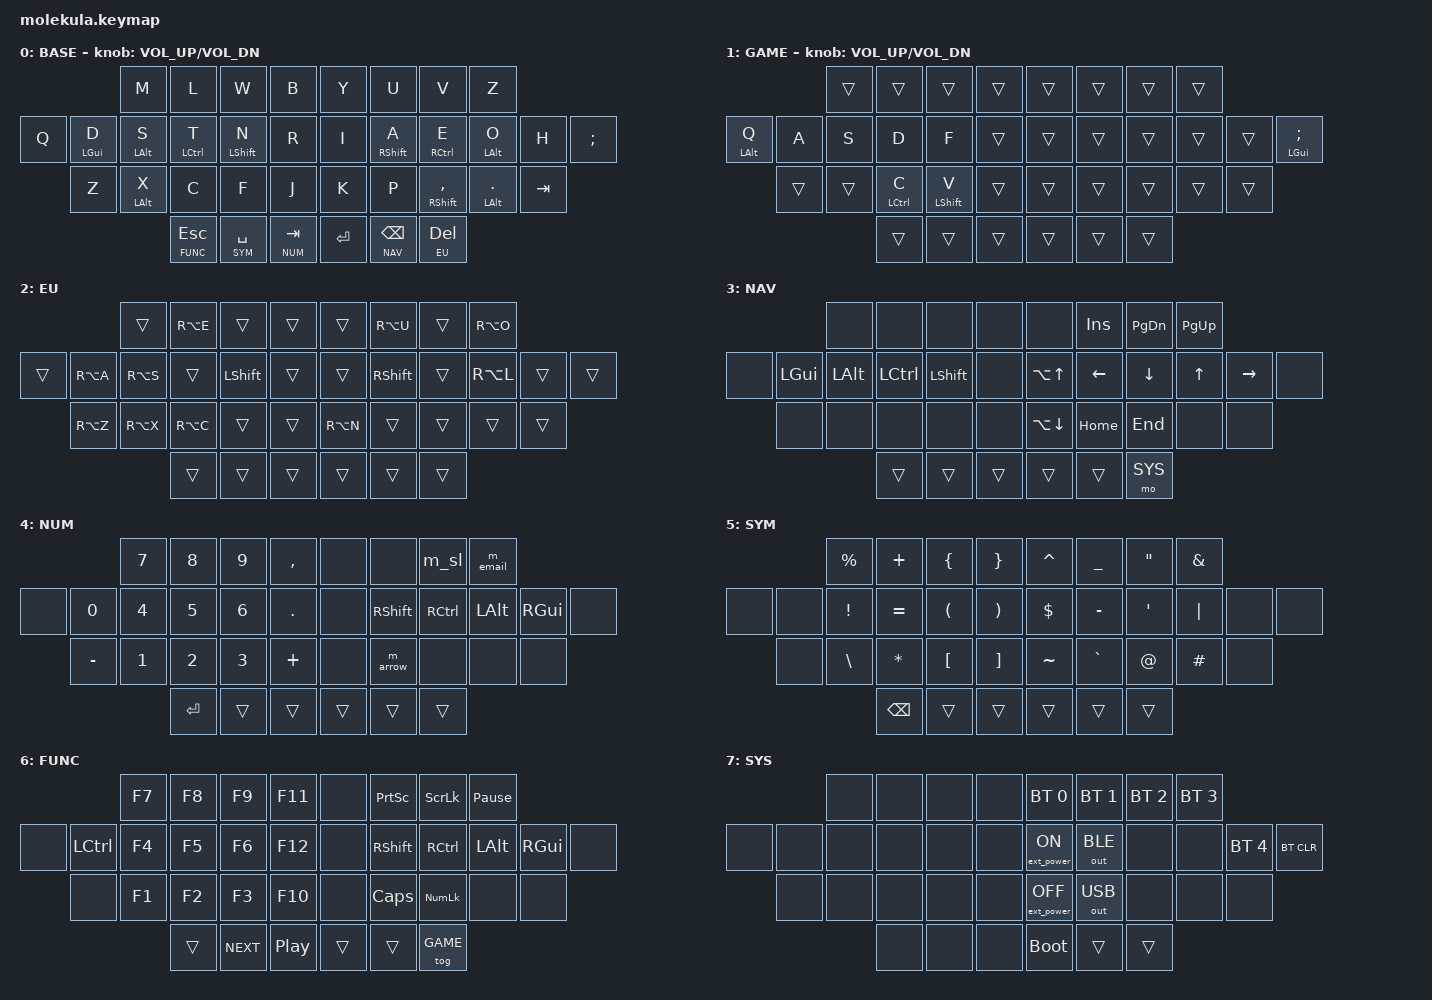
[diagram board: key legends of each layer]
/*
 * Copyright (c) 2020 The ZMK Contributors
 *
 * SPDX-License-Identifier: MIT
 */

#include <behaviors.dtsi>
#include <dt-bindings/zmk/keys.h>
#include <dt-bindings/zmk/bt.h>
#include <dt-bindings/zmk/outputs.h>
#include <dt-bindings/zmk/ext_power.h>

#include "36keys.h"

#define BASE 0
#define GAME 1
#define EU 2
#define NAV 3
#define NUM 4
#define SYM 5
#define FUNC 6
#define SYS 7

#define KEYS_L LT0 LT1 LT2 LT3 LM0 LM1 LM2 LM3 LM4 LM5 LB0 LB1 LB2 LB3 LB4  // left hand
#define KEYS_R RT0 RT1 RT2 RT3 RM0 RM1 RM2 RM3 RM4 RM5 RB0 RB1 RB2 RB3 RB4  // right hand
#define THUMBS LH2 LH1 LH0 RH0 RH1 RH2                                      // thumbs

&lt {  // layer-tap config
    tapping-term-ms = <150>;
};

/ {
    behaviors {
        hrs: homerow_shift {
            compatible = "zmk,behavior-hold-tap";
            #binding-cells = <2>;
            tapping-term-ms = <140>;
            flavor = "tap-preferred";
            bindings = <&kp>, <&kp>;
        };
        hrcl: homerow_ctrl_left {
            compatible = "zmk,behavior-hold-tap";
            #binding-cells = <2>;
            tapping-term-ms = <180>;
            flavor = "balanced";
            bindings = <&kp>, <&kp>;
            hold-trigger-key-positions = <KEYS_R THUMBS>;
            hold-trigger-on-release;
        };
        hrcr: homerow_ctrl_right {
            compatible = "zmk,behavior-hold-tap";
            #binding-cells = <2>;
            tapping-term-ms = <180>;
            quick-tap-ms = <0>;
            require-prior-idle-ms = <0>;
            flavor = "balanced";
            bindings = <&kp>, <&kp>;
            hold-trigger-key-positions = <KEYS_L THUMBS>;
            hold-trigger-on-release;
        };
        hrml: homerow_mods_left {
            compatible = "zmk,behavior-hold-tap";
            #binding-cells = <2>;
            tapping-term-ms = <280>;
            quick-tap-ms = <175>;
            require-prior-idle-ms = <150>;
            flavor = "balanced";
            bindings = <&kp>, <&kp>;
            hold-trigger-key-positions = <KEYS_R THUMBS>;
            hold-trigger-on-release;
        };
        hrmr: homerow_mods_right {
            compatible = "zmk,behavior-hold-tap";
            #binding-cells = <2>;
            tapping-term-ms = <280>;
            quick-tap-ms = <175>;
            require-prior-idle-ms = <150>;
            flavor = "balanced";
            bindings = <&kp>, <&kp>;
            hold-trigger-key-positions = <KEYS_L THUMBS>;
            hold-trigger-on-release;
        };
    };

    macros {
        m_arrow: m_arrow {
            compatible = "zmk,behavior-macro";
            #binding-cells = <0>;
            bindings = <&kp EQUAL &kp GT>;
        };

        m_sl: m_select_line {
            compatible = "zmk,behavior-macro";
            #binding-cells = <0>;
            bindings
                = <&macro_tap &kp HOME> 
                , <&macro_press &kp LSHFT>
                , <&macro_tap &kp END>
                , <&macro_release &kp LSHFT>
                ;
        };

        m_email: m_email {
            compatible = "zmk,behavior-macro";
            #binding-cells = <0>;
            bindings = <&kp Z &kp Z  &kp E &kp N &kp E &kp G &kp AT &kp G &kp M &kp A &kp I &kp L &kp DOT &kp C &kp O &kp M>;
        };
    };

    combos {
        compatible = "zmk,combos";
        combo_caps_word {
            timeout-ms = <50>;
            key-positions = <LM1 RM1>;
            bindings = <&caps_word>;
            layers = <0>;
        };
    };

    keymap {
        compatible = "zmk,keymap";

        default_layer {
            display-name = "BASE";

            bindings = <
                                       &kp M         &kp L          &kp W         &kp B            &kp Y    &kp U         &kp V          &kp Z
                &kp Q    &hrml LGUI D  &hrml LALT S  &hrcl LCTRL T  &hrs LSHFT N  &kp R            &kp I    &hrs RSHFT A  &hrcr RCTRL E  &hrmr LALT O  &kp H       &kp SEMI
                         &kp Z         &hrml LALT X  &kp C          &kp F         &kp J            &kp K    &kp P         &hrs RSHFT COMMA &hrml LALT DOT &kp TAB
                                                 &lt FUNC ESC  &lt SYM SPACE  &lt NUM TAB        &kp ENTER  &lt NAV BSPC  &lt EU DEL
            >;

            sensor-bindings = <&inc_dec_kp C_VOL_UP C_VOL_DN>;
        };

        game_layer {
            display-name = "GAME";

            bindings = <
                                       &trans    &trans         &trans        &trans           &trans    &trans    &trans    &trans
                &hrml LALT Q  &kp A    &kp S     &kp D          &kp F         &trans           &trans    &trans    &trans    &trans    &trans    &hrmr LGUI SEMI
                              &trans   &trans    &hrcl LCTRL C  &hrs LSHFT V  &trans           &trans    &trans    &trans    &trans    &trans   
                                                            &trans    &trans    &trans       &trans    &trans    &trans
            >;

            sensor-bindings = <&inc_dec_kp C_VOL_UP C_VOL_DN>;
        };

        eu_layer {
            display-name = "EU";

            bindings = <
                                       &trans      &kp RA(E)    &trans       &trans            &trans       &kp RA(U)    &trans      &kp RA(O)
                &trans    &kp RA(A)    &kp RA(S)   &trans       &kp LSHFT    &trans            &trans       &kp RSHFT    &trans      &kp RA(L)    &trans       &trans
                          &kp RA(Z)    &kp RA(X)   &kp RA(C)    &trans       &trans            &kp RA(N)    &trans       &trans      &trans       &trans
                                                         &trans     &trans     &trans       &trans      &trans     &trans
            >;
        };

        nav_layer {
            display-name = "NAV";

            bindings = < 
                                   &none      &none        &none       &none              &none         &kp INS    &kp PG_DN    &kp PG_UP
                &none    &kp LGUI  &kp LALT   &kp LCTRL    &kp LSHFT   &none              &kp LA(UP)    &kp LEFT   &kp DOWN     &kp UP       &kp RIGHT    &none
                         &none     &none      &none        &none       &none              &kp LA(DOWN)  &kp HOME   &kp END      &none        &none
                                                    &trans     &trans     &trans        &trans      &trans     &mo SYS
            >;
        };

        num_layer {
            display-name = "NUM";

            bindings = <
                                      &kp N7      &kp N8      &kp N9      &kp COMMA          &none      &none        &m_sl       &m_email
                &none      &kp N0     &kp N4      &kp N5      &kp N6      &kp DOT            &none      &kp RSHFT    &kp RCTRL   &kp LALT   &kp RGUI     &none
                           &kp MINUS  &kp N1      &kp N2      &kp N3      &kp PLUS           &none      &m_arrow     &none       &none      &none
                                                     &kp ENTER     &trans     &trans       &trans      &trans     &trans
            >;
        };

        sym_layer {
            display-name = "SYM";

            bindings = < 
                                   &kp PRCNT   &kp PLUS    &kp LBRC    &kp RBRC         &kp CARET  &kp UNDER    &kp DQT    &kp AMPS
                &none    &none     &kp EXCL    &kp EQUAL   &kp LPAR    &kp RPAR         &kp DLLR   &kp MINUS    &kp SQT    &kp PIPE     &none     &none
                         &none     &kp BSLH    &kp STAR    &kp LBKT    &kp RBKT         &kp TILDE  &kp GRAVE    &kp AT     &kp HASH     &none
                                                  &kp BSPC    &trans     &trans       &trans      &trans     &trans
            >;
        };

        func_layer {
            display-name = "FUNC";

            bindings = <
                                       &kp F7      &kp F8      &kp F9      &kp F11             &none        &kp PSCRN    &kp SLCK     &kp PAUSE_BREAK
                &none      &kp LCTRL   &kp F4      &kp F5      &kp F6      &kp F12             &none        &kp RSHFT    &kp RCTRL    &kp LALT         &kp RGUI    &none
                           &none       &kp F1      &kp F2      &kp F3      &kp F10             &none        &kp CAPS     &kp KP_NUM   &none            &none
                                                 &trans     &kp C_NEXT     &kp C_PP        &trans      &trans     &tog GAME
            >;
        };

        sys_layer {
            display-name = "SYS";

            bindings = <
                                    &none     &none     &none     &none           &bt BT_SEL 0       &bt BT_SEL 1  &bt BT_SEL 2  &bt BT_SEL 3
                &none     &none     &none     &none     &none     &none           &ext_power EP_ON   &out OUT_BLE  &none         &none         &bt BT_SEL 4     &bt BT_CLR
                          &none     &none     &none     &none     &none           &ext_power EP_OFF  &out OUT_USB  &none         &none         &none
                                                &none     &none     &none       &bootloader     &trans      &trans
            >;
        };

    };
};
